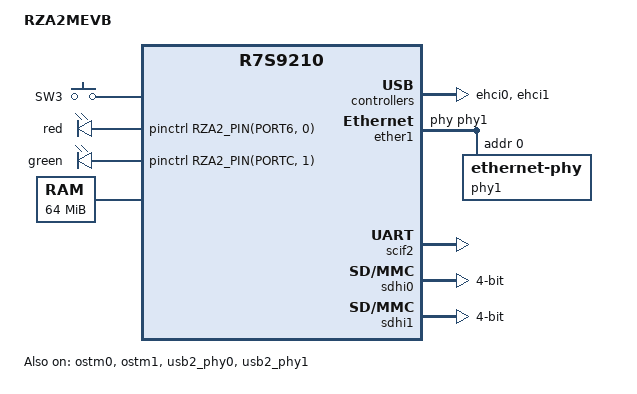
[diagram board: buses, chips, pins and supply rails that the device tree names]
// SPDX-License-Identifier: GPL-2.0
/*
 * Device Tree Source for the RZA2MEVB board
 *
 * Copyright (C) 2018 Renesas Electronics
 *
 * As upstream Linux does not support XIP, it cannot run in 8 MiB of HyperRAM.
 * Hence the 64 MiB of SDRAM on the sub-board needs to be enabled, which has
 * the following ramifications:
 *   - SCIF4 connected to the on-board USB-serial can no longer be used as the
 *     serial console,
 *   - Instead, SCIF2 is used as the serial console, by connecting a 3.3V TTL
 *     USB-to-Serial adapter to the CMOS camera connector:
 *       - RXD = CN17-9,
 *       - TXD = CN17-10,
 *       - GND = CN17-2 or CN17-17,
 *   - The first Ethernet channel can no longer be used,
 *   - USB Channel 1 loses the overcurrent input signal.
 *
 * Please make sure your sub-board matches the following switch settings:
 *
 *           SW6                SW6-1 set to SDRAM
 *  ON                          SW6-2 set to Audio
 * +---------------------+      SW6-3 set to DRP
 * | =   =   = = =       |      SW6-4 set to CEU
 * |   =   =             |      SW6-5 set to Ether2
 * | 1 2 3 4 5 6 7 8 9 0 |      SW6-6 set to VDC6
 * +---------------------+      SW6-7 set to VDC6
 */

/dts-v1/;
#include "r7s9210.dtsi"
#include <dt-bindings/gpio/gpio.h>
#include <dt-bindings/input/input.h>
#include <dt-bindings/pinctrl/r7s9210-pinctrl.h>

/ {
	model = "RZA2MEVB";
	compatible = "renesas,rza2mevb", "renesas,r7s9210";

	aliases {
		serial0 = &scif2;
		ethernet0 = &ether1;
	};

	chosen {
		bootargs = "ignore_loglevel";
		stdout-path = "serial0:115200n8";
	};

	keyboard {
		compatible = "gpio-keys";

		pinctrl-names = "default";
		pinctrl-0 = <&keyboard_pins>;

		key-3 {
			interrupt-parent = <&irqc>;
			interrupts = <0 IRQ_TYPE_EDGE_BOTH>;
			linux,code = <KEY_3>;
			label = "SW3";
			wakeup-source;
		};
	};

	lbsc {
		#address-cells = <1>;
		#size-cells = <1>;
	};

	leds {
		compatible = "gpio-leds";

		red {
			gpios = <&pinctrl RZA2_PIN(PORT6, 0) GPIO_ACTIVE_HIGH>;
		};
		green {
			gpios = <&pinctrl RZA2_PIN(PORTC, 1) GPIO_ACTIVE_HIGH>;
		};
	};

	memory@c000000 {
		device_type = "memory";
		reg = <0x0c000000 0x04000000>;	/* SDRAM */
	};
};

&ehci0 {
	status = "okay";
};

&ehci1 {
	status = "okay";
};

&ether1 {
	pinctrl-names = "default";
	pinctrl-0 = <&eth1_pins>;
	status = "okay";
	renesas,no-ether-link;
	phy-handle = <&phy1>;
	phy1: ethernet-phy@1 {
		reg = <0>;
	};
};

/* EXTAL */
&extal_clk {
	clock-frequency = <24000000>;	/* 24MHz */
};

/* High resolution System tick timers */
&ostm0 {
	status = "okay";
};

&ostm1 {
	status = "okay";
};

&pinctrl {
	eth0_pins: eth0 {
		pinmux = <RZA2_PINMUX(PORTE, 0, 7)>, /* REF50CK0 */
			 <RZA2_PINMUX(PORT6, 1, 7)>, /* RMMI0_TXDEN */
			 <RZA2_PINMUX(PORT6, 2, 7)>, /* RMII0_TXD0 */
			 <RZA2_PINMUX(PORT6, 3, 7)>, /* RMII0_TXD1 */
			 <RZA2_PINMUX(PORTE, 4, 7)>, /* RMII0_CRSDV */
			 <RZA2_PINMUX(PORTE, 1, 7)>, /* RMII0_RXD0 */
			 <RZA2_PINMUX(PORTE, 2, 7)>, /* RMII0_RXD1 */
			 <RZA2_PINMUX(PORTE, 3, 7)>, /* RMII0_RXER */
			 <RZA2_PINMUX(PORTE, 5, 1)>, /* ET0_MDC */
			 <RZA2_PINMUX(PORTE, 6, 1)>, /* ET0_MDIO */
			 <RZA2_PINMUX(PORTL, 0, 5)>; /* IRQ4 */
	};

	eth1_pins: eth1 {
		pinmux = <RZA2_PINMUX(PORTK, 3, 7)>, /* REF50CK1 */
			 <RZA2_PINMUX(PORTK, 0, 7)>, /* RMMI1_TXDEN */
			 <RZA2_PINMUX(PORTK, 1, 7)>, /* RMII1_TXD0 */
			 <RZA2_PINMUX(PORTK, 2, 7)>, /* RMII1_TXD1 */
			 <RZA2_PINMUX(PORT3, 2, 7)>, /* RMII1_CRSDV */
			 <RZA2_PINMUX(PORTK, 4, 7)>, /* RMII1_RXD0 */
			 <RZA2_PINMUX(PORT3, 5, 7)>, /* RMII1_RXD1 */
			 <RZA2_PINMUX(PORT3, 1, 7)>, /* RMII1_RXER */
			 <RZA2_PINMUX(PORT3, 3, 1)>, /* ET1_MDC */
			 <RZA2_PINMUX(PORT3, 4, 1)>, /* ET1_MDIO */
			 <RZA2_PINMUX(PORTL, 1, 5)>; /* IRQ5 */
	};

	keyboard_pins: keyboard {
		pinmux = <RZA2_PINMUX(PORTJ, 1, 6)>;	/* IRQ0 */
	};

	/* Serial Console */
	scif2_pins: serial2 {
		pinmux = <RZA2_PINMUX(PORTE, 2, 3)>,	/* TxD2 */
			 <RZA2_PINMUX(PORTE, 1, 3)>;	/* RxD2 */
	};

	sdhi0_pins: sdhi0 {
		pinmux = <RZA2_PINMUX(PORT5, 0, 3)>,	/* SD0_CD */
			 <RZA2_PINMUX(PORT5, 1, 3)>;	/* SD0_WP */
	};

	sdhi1_pins: sdhi1 {
		pinmux = <RZA2_PINMUX(PORT5, 4, 3)>,	/* SD1_CD */
			 <RZA2_PINMUX(PORT5, 5, 3)>;	/* SD1_WP */
	};

	usb0_pins: usb0 {
		pinmux = <RZA2_PINMUX(PORT5, 2, 3)>,	/* VBUSIN0 */
			 <RZA2_PINMUX(PORTC, 6, 1)>,	/* VBUSEN0 */
			 <RZA2_PINMUX(PORTC, 7, 1)>;	/* OVRCUR0 */
	};

	usb1_pins: usb1 {
		pinmux = <RZA2_PINMUX(PORTC, 0, 1)>,	/* VBUSIN1 */
			 <RZA2_PINMUX(PORTC, 5, 1)>;	/* VBUSEN1 */
	};
};

/* RTC_X1 */
&rtc_x1_clk {
	clock-frequency = <32768>;
};

/* Serial Console */
&scif2 {
	pinctrl-names = "default";
	pinctrl-0 = <&scif2_pins>;

	status = "okay";
};

&sdhi0 {
	pinctrl-names = "default";
	pinctrl-0 = <&sdhi0_pins>;
	bus-width = <4>;
	status = "okay";
};

&sdhi1 {
	pinctrl-names = "default";
	pinctrl-0 = <&sdhi1_pins>;
	bus-width = <4>;
	status = "okay";
};

/* USB-0 as Host */
&usb2_phy0 {
	pinctrl-names = "default";
	pinctrl-0 = <&usb0_pins>;
	dr_mode = "host";	/* Requires JP3 to be fitted */
	status = "okay";
};

/* USB-1 as Host */
&usb2_phy1 {
	pinctrl-names = "default";
	pinctrl-0 = <&usb1_pins>;
	dr_mode = "host";
	status = "okay";
};

/* USB_X1 */
&usb_x1_clk {
	clock-frequency = <48000000>;
};
